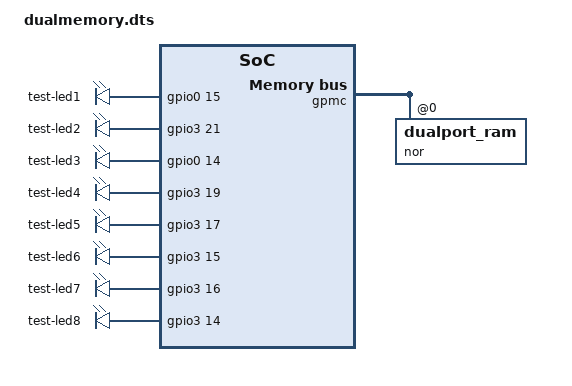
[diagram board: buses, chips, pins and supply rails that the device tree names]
/*
* Copyright (C) 2012 Texas Instruments Incorporated - http://www.ti.com/
*
* This program is free software; you can redistribute it and/or modify
* it under the terms of the GNU General Public License version 2 as
* published by the Free Software Foundation.
*/
/dts-v1/;
/plugin/;

/ {
	compatible = "ti,beaglebone", "ti,beaglebone-black";
	part-number = "dualmemory3";
	version = "00A0";

	/* state the resources this cape uses */
	exclusive-use =
		/* the pin header uses */
		"P9.24",	/* mcasp0: mcasp0_ahclkx */
		"P9.25",	/* mcasp0: mcasp0_axr2 */
		"P9.26",	/* mcasp0: mcasp0_fsx */
		"P9.27",	/* mcasp0: mcasp0_aclkx */
		"P9.28",	/* lcd: lcd_data0 */
		"P9.29",	/* lcd: lcd_data1 */
		"P9.30",	/* lcd: lcd_data2 */
		"P9.31",	/* lcd: lcd_data3 */

        "P9.11",    /* GPMC WAIT0 */
        "P9.13",    /* GPMC WPN */
        "P8.3",     /* GPMC AD6 */
        "P8.4",     /* GPMC AD7 */
        "P8.5",     /* GPMC AD2 */
        "P8.6",     /* GPMC AD3 */
        "P8.8",     /* GPMC OEN REN */
        "P8.10",    /* GPMC WEN*/
        "P8.11",    /* GPMC AD13*/
        "P8.12",    /* GPMC AD12*/
        "P8.13",    /* GPMC AD9*/
        "P8.14",    /* GPMC AD10*/
        "P8.15",    /* GPMC AD15*/
        "P8.16",    /* GPMC AD14*/
        "P8.17",    /* GPMC AD11*/
        "P8.19",    /* GPMC AD8*/
        "P8.22",    /* GPMC AD5*/
        "P8.23",    /* GPMC AD4*/
        "P8.24",    /* GPMC AD1*/
        "P8.25",    /* GPMC AD0*/
        "P8.26",    /* GPMC CSN0*/
        "P8.27",    /* GPMC A8*/
        "P8.28",    /* GPMC A10*/
        "P8.29",    /* GPMC A9*/
        "P8.30",    /* GPMC A11*/
        "P8.37",    /* GPMC A12*/
        "P8.39",    /* GPMC A6*/
        "P8.40",    /* GPMC A7*/
        "P8.41",    /* GPMC A4*/
        "P8.42",    /* GPMC A5*/
        "P8.43",    /* GPMC A2*/
        "P8.44",    /* GPMC A3*/
        "P8.46",    /* GPMC A1*/
		"gpio1_31",

		"gpmc",


		/* the hardware IP uses */
		"gpio0_15",
		"gpio3_21",
		"gpio0_14",
		"gpio3_19",
        //"gpio0_5",   // by skj
        //"gpio0_4",   // by skj
        //"gpio0_12",  // by skj
        //"gpio0_13",  // by skj
		"gpio3_17",
		"gpio3_15",
		"gpio3_16",
		"gpio3_14";

	fragment@0 {
		target = <&am33xx_pinmux>;
		__overlay__ {
			gpmc_pins: pinmux_gpmc_pins {
                status = "okay";
				pinctrl-single,pins = <
					0x70 0x08       /* gpmc_wait0 */
					0x74 0x17       /* gpmc_wpn(sem-gpio) */
					0x94 0x08        /* gpmc_oen_ren */
					0x98 0x08        /* gpmc_wen */
					0x7c 0x08        /* gpmc_csn0(not used) */
					0x40 0x17        /* gpmc_a0(csn-gpio) */
					0x0 0x30       /* gpmc_ad0 */
					0x4 0x30       /* gpmc_ad1 */
					0x8 0x30       /* gpmc_ad2 */
					0xc 0x30       /* gpmc_ad3 */
					0x10 0x30       /* gpmc_ad4 */
					0x14 0x30       /* gpmc_ad5 */
					0x18 0x30       /* gpmc_ad6 */
					0x1c 0x30       /* gpmc_ad7 */
					0x20 0x30       /* gpmc_ad8 */
					0x24 0x30       /* gpmc_ad9 */
					0x28 0x30       /* gpmc_ad10 */
					0x2c 0x30       /* gpmc_ad11 */
					0x30 0x30       /* gpmc_ad12 */
					0x34 0x30       /* gpmc_ad13 */
					0x38 0x30       /* gpmc_ad14 */
					0x3c 0x30       /* gpmc_ad15 */
					0xa4 0x09       /* lcd_data1(gpmc_a1) */
					0xa8 0x09       /* lcd_data2(gpmc_a2) */
					0xac 0x09       /* lcd_data3(gpmc_a3) */
					0xb0 0x09       /* lcd_data4(gpmc_a4) */
					0xb4 0x09       /* lcd_data5(gpmc_a5) */
					0xb8 0x09       /* lcd_data6(gpmc_a6) */
					0xbc 0x09       /* lcd_data7(gpmc_a7) */
					0xe0 0x09       /* lcd_vsync(gpmc_a8) */
					0xe4 0x09       /* lcd_hsync(gpmc_a9) */
					0xe8 0x09       /* lcd_pclk(gpmc_a10) */
					0xec 0x09       /* lcd_ac_bias_en(gpmc_a11) */
					0xc0 0x09       /* lcd_data8(gpmc_a12) */
				>;
			};
			debug_led_pins: pinmux_debug_led_pins {
                status = "okay";
				pinctrl-single,pins = <
					0x184 0x17       /* uart1_txd, OMAP_MUX_MODE7 | AM33XX_PIN_OUTPUT | AM33XX_PULL_ENA */
					0x1ac 0x17       /* mcasp0_ahclkx, OMAP_MUX_MODE7 | AM33XX_PIN_OUTPUT | AM33XX_PULL_ENA */
					0x180 0x17       /* uart1_rxd, OMAP_MUX_MODE7 | AM33XX_PIN_OUTPUT | AM33XX_PULL_ENA */
					0x1a4 0x17       /* mcasp0_fsr, OMAP_MUX_MODE7 | AM33XX_PIN_OUTPUT | AM33XX_PULL_ENA */
					0x19c 0x17       /* mcasp0_ahclkr, OMAP_MUX_MODE7 | AM33XX_PIN_OUTPUT | AM33XX_PULL_ENA */
					0x194 0x17       /* mcasp0_fsx, OMAP_MUX_MODE7 | AM33XX_PIN_OUTPUT | AM33XX_PULL_ENA */
					0x198 0x17       /* mcasp0_axr0, OMAP_MUX_MODE7 | AM33XX_PIN_OUTPUT | AM33XX_PULL_ENA */
					0x190 0x17       /* mcasp0_aclkx, OMAP_MUX_MODE7 | AM33XX_PIN_OUTPUT | AM33XX_PULL_ENA */
				>;
			};
		};
	};

	fragment@1 {
		target = <&ocp>;
		__overlay__ {
            debug-leds {
                compatible = "gpio-leds";
                test-led1 {
                    label = "test-led1";
                    gpios = <&gpio0 15 0>;// by skj
                    linux,default-trigger = "default-on";
                    default-state = "on";
                };
                test-led2 {
                    label = "test-led2";
                    gpios = <&gpio3 21 0>;// by skj
                    linux,default-trigger = "default-on";
                    default-state = "on";
                };
                test-led3 {
                    label = "test-led3";
                    gpios = <&gpio0 14 0>;// by skj
                    linux,default-trigger = "default-on";
                    default-state = "on";
                };
                test-led4 {
                    label = "test-led4";
                    gpios = <&gpio3 19 0>;  // by skj
                    linux,default-trigger = "default-on";
                    default-state = "on";
                };
                test-led5 {
                    label = "test-led5";
                    gpios = <&gpio3 17 0>;
                    linux,default-trigger = "default-on";
                    default-state = "on";
                };
                test-led6 {
                    label = "test-led6";
                    gpios = <&gpio3 15 0>;
                    linux,default-trigger = "default-on";
                    default-state = "on";
                };
                test-led7 {
                    label = "test-led7";
                    gpios = <&gpio3 16 0>;
                    linux,default-trigger = "default-on";
                    default-state = "on";
                };
                test-led8 {
                    label = "test-led8";
                    gpios = <&gpio3 14 0>;
                    linux,default-trigger = "default-on";
                    default-state = "on";
                };
            };
		};
	};

    fragment@2 {
        target = <&gpmc>;
        depth = <1>;    /* only create devices on depth 1 */

        /* stupid warnings */
        #address-cells = <1>; 
        #size-cells = <1>;  
        __overlay__{

            status = "okay";

            #address-cells = <2>;
            #size-cells = <1>;

            pinctrl-names = "default";
            pinctrl-0 = <&gpmc_pins>;

            /*gpmc,num-waitpins = <1>; */
            /*gpmc,num-cs = <2>;*/
            /* chip select ranges */
            ranges = <0 0 0x08000000 0x00100000>;

            nor{
                compatible = "dualport_ram";
                status = "okay";
                reg = <0 0 0x00100000>;


                /*gpmc,burst-write;*/
                /*gpmc,burst-read;*/
                /*gpmc,burst-wrap;*/
                bank-width = <2>;
                gpmc,cs-on-ns = <0>;
                gpmc,cs-rd-off-ns = <100>;
                gpmc,cs-wr-off-ns = <40>;

                gpmc,adv-on-ns = <0>;       /* CONFIG3 */
                gpmc,adv-rd-off-ns = <20>;
                gpmc,adv-wr-off-ns = <20>;

                gpmc,we-on-ns = <20>;       /* CONFIG4 */
                gpmc,we-off-ns = <40>;

                gpmc,oe-on-ns = <20>;
                gpmc,oe-off-ns = <100>;

                gpmc,page-burst-access-ns = <20>;   /* CONFIG 5 */
                gpmc,access-ns = <80>;
                gpmc,rd-cycle-ns = <120>;
                gpmc,wr-cycle-ns = <60>;
                gpmc,wr-access-ns = <40>;       /* CONFIG 6 */
                gpmc,wr-data-mux-bus-ns = <20>;

                /*gpmc,sync-read;     /* GPMC_CONFIG1_READTYPE_ASYNC */
                /*gpmc,sync-write;        /* GPMC_CONFIG1_WRITETYPE_ASYNC */
                /*gpmc,clk-activation-ns = <0>;   /* GPMC_CONFIG1_CLKACTIVATIONTIME(2) */
                gpmc,device-width = <2>;
               /* gpmc,burst-length = <16>;  
                gpmc,burst-read;
                gpmc,burst-write;
                /*gpmc,mux-add-data = <2>;    /* GPMC_CONFIG1_MUXTYPE(2) */

                /*gpmc,sync-clk-ps = <20000>; /* CONFIG2 */


                /*gpmc,bus-turnaround-ns = <40>;*/      /* CONFIG6:3:0 = 4 */
                /*gpmc,cycle2cycle-samecsen;*/      /* CONFIG6:7 = 1 */
                /*gpmc,cycle2cycle-delay-ns = <40>;*/   /* CONFIG6:11:8 = 4 */

                /* not using dma engine yet, but we can get the channel number here */
                dmas = <&edma 1>;
                dma-names = "dualport";

            };
        };
    };
};
